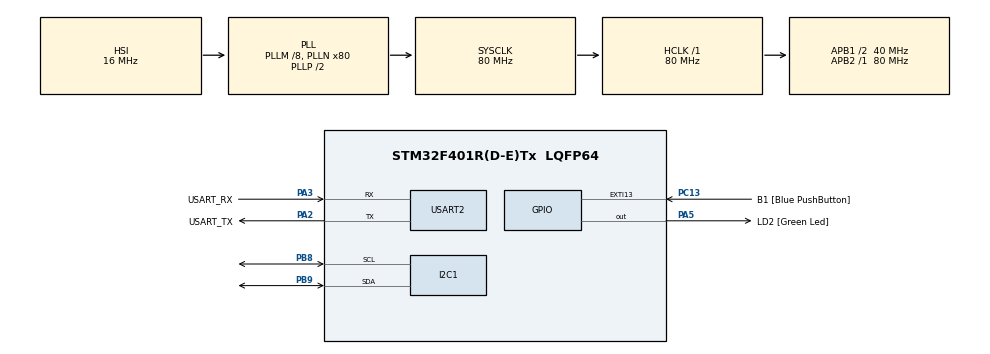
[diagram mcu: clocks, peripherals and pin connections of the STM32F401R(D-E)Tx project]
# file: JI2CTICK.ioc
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Mcu.Family=STM32F4
Mcu.Name=STM32F401R(D-E)Tx
Mcu.Package=LQFP64
NVIC.PriorityGroup=NVIC_PRIORITYGROUP_0
PA13.GPIO_Label=TMS
PA13.Mode=Serial_Wire
PA13.Signal=SYS_JTMS-SWDIO
PA14.GPIO_Label=TCK
PA14.Mode=Serial_Wire
PA14.Signal=SYS_JTCK-SWCLK
PA2.GPIO_Label=USART_TX
PA2.GPIO_Mode=GPIO_MODE_AF_PP
PA2.GPIO_PuPd=GPIO_NOPULL
PA2.GPIO_Speed=GPIO_SPEED_FREQ_LOW
PA2.Mode=Asynchronous
PA2.Signal=USART2_TX
PA3.GPIO_Label=USART_RX
PA3.GPIO_Mode=GPIO_MODE_AF_PP
PA3.GPIO_PuPd=GPIO_NOPULL
PA3.GPIO_Speed=GPIO_SPEED_FREQ_LOW
PA3.Mode=Asynchronous
PA3.Signal=USART2_RX
PA5.GPIO_Label=LD2 [Green Led]
PA5.GPIO_Mode=GPIO_MODE_OUTPUT_PP
PA5.GPIO_PuPd=GPIO_NOPULL
PA5.GPIO_Speed=GPIO_SPEED_FREQ_LOW
PA5.Signal=GPIO_Output
PB3.GPIO_Label=SWO
PB3.Signal=SYS_JTDO-SWO
PB8.Mode=I2C
PB8.Signal=I2C1_SCL
PB9.Mode=I2C
PB9.Signal=I2C1_SDA
PC13-ANTI_TAMP.GPIO_Label=B1 [Blue PushButton]
PC13-ANTI_TAMP.GPIO_ModeDefaultEXTI=GPIO_MODE_IT_FALLING
PC13-ANTI_TAMP.GPIO_PuPd=GPIO_NOPULL
PC13-ANTI_TAMP.Signal=GPXTI13
PC14-OSC32_IN.Mode=LSE-External-Oscillator
PC14-OSC32_IN.Signal=RCC_OSC32_IN
PC15-OSC32_OUT.Mode=LSE-External-Oscillator
PC15-OSC32_OUT.Signal=RCC_OSC32_OUT
PH0\ -\ OSC_IN.Mode=HSE-External-Clock-Source
PH0\ -\ OSC_IN.Signal=RCC_OSC_IN
PH1\ -\ OSC_OUT.Mode=HSE-External-Clock-Source
PH1\ -\ OSC_OUT.Signal=RCC_OSC_OUT
ProjectManager.HeapSize=0x200
ProjectManager.StackSize=0x400
ProjectManager.TargetToolchain=STM32CubeIDE
RCC.48MHZClocksFreq_Value=22857142.85714286
RCC.AHBFreq_Value=80000000
RCC.APB1CLKDivider=RCC_HCLK_DIV2
RCC.APB1Freq_Value=40000000
RCC.APB1TimFreq_Value=80000000
RCC.APB2Freq_Value=80000000
RCC.APB2TimFreq_Value=80000000
RCC.CortexFreq_Value=80000000
RCC.HCLKFreq_Value=80000000
RCC.HSE_VALUE=8000000
RCC.HSI_VALUE=16000000
RCC.PLLM=8
RCC.PLLN=80
RCC.PLLQ=7
RCC.SYSCLKFreq_VALUE=80000000
RCC.SYSCLKSource=RCC_SYSCLKSOURCE_PLLCLK
RCC.VCOOutputFreq_Value=160000000
USART2.VirtualMode=VM_ASYNC
board=NUCLEO-F401RE

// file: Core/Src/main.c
/* USER CODE BEGIN Header */
/**
 ******************************************************************************
 * @file           : main.c
 * @brief          : Main program body
 ******************************************************************************
 * @attention
 *
 * Copyright (c) 2023 STMicroelectronics.
 * All rights reserved.
 *
 * This software is licensed under terms that can be found in the LICENSE file
 * in the root directory of this software component.
 * If no LICENSE file comes with this software, it is provided AS-IS.
 *
 ******************************************************************************
 */
/* USER CODE END Header */
#include "main.h"

/* USER CODE BEGIN Includes */
#include "string.h"
#include "stdlib.h"
#include "stdio.h"
#include "math.h"
/* USER CODE END Includes */

/* USER CODE BEGIN PD */
#define MPU6050_ADDRESS   0x68
#define MPU6050_GYRO_XOUT_H  0x43
#define MPU6050_ACCEL_XOUT_H  0x3B
#define MPU6050_PWR_MGMT_1    0x6B
#define MPU6050_ACCEL_CONFIG  0x1C
#define MPU6050_GYRO_CONFIG   0x1B
#define GYRO_SENSITIVITY      131.0
#define alpha 0.95
#define SPACE_WIDTH 101
#define PROGRESS 50
/* USER CODE END PD */

I2C_HandleTypeDef hi2c1;

UART_HandleTypeDef huart2;

/* USER CODE BEGIN PV */
uint8_t MSG[50] = {'\0'};

char* winMessage ="\t\t.#.....................#.....###########.....#...........#\r\n"
				  "\t\t..#.........#.........#...........#..........#.#.........#\r\n"
				  "\t\t...#.......#.#.......#............#..........#...#.......#\r\n"
				  "\t\t....#.....#...#.....#.............#..........#.....#.....#\r\n"
				  "\t\t.....#...#.....#...#..............#..........#.......#...#\r\n"
				  "\t\t......#.#.......#.#...............#..........#.........#.#\r\n"
				  "\t\t.......#.........#...........###########.....#...........#\r\n";
int progress = 0;

/* USER CODE END PV */

void SystemClock_Config(void);
static void MX_GPIO_Init(void);
static void MX_USART2_UART_Init(void);
static void MX_I2C1_Init(void);
/* USER CODE BEGIN PFP */
void MPU6050_Init(void);
int ReadInt(void);
void UART_SEND_TXT(UART_HandleTypeDef *huart, char buffer[]);
void UART_SEND_INT(UART_HandleTypeDef *huart, int i);
void UART_SEND_CHR(UART_HandleTypeDef *huart, char c);
void UART_SEND_NL(UART_HandleTypeDef *huart);
int scale_roll(double value);
int scale_pitch(double value);
/* USER CODE END PFP */

/* USER CODE BEGIN 0 */
float gx_dps, gy_dps, gz_dps, gyro_x, gyro_y, gyro_z;
float angleX = 0, angleY = 0, angleZ = 0;
/* USER CODE END 0 */

int main(void)
{
	/* USER CODE BEGIN 1 */
	char space_line[SPACE_WIDTH];
	for (int i = 0; i < SPACE_WIDTH; i++)
	{
		space_line[i] = '.';
	}
	int x_pos = SPACE_WIDTH/2+1;
	int x_prev_pos = 0;

	/* USER CODE END 1 */

	/* MCU Configuration--------------------------------------------------------*/

	/* Reset of all peripherals, Initializes the Flash interface and the Systick. */
	HAL_Init();

	/* Configure the system clock */
	SystemClock_Config();

	/* Initialize all configured peripherals */
	MX_GPIO_Init();
	MX_USART2_UART_Init();
	MX_I2C1_Init();
	/* USER CODE BEGIN 2 */
	MPU6050_Init();

	if(HAL_I2C_IsDeviceReady(&hi2c1, MPU6050_ADDRESS <<1, 1, HAL_MAX_DELAY))
	{
		HAL_GPIO_WritePin(GPIOA, GPIO_PIN_5, 1);
	}
	else
	{
		HAL_GPIO_WritePin(GPIOA, GPIO_PIN_5, 0);
	}

	float gyro_roll;

	/* USER CODE END 2 */

	/* Infinite loop */
	/* USER CODE BEGIN WHILE */
	while (1)
	{
		uint8_t buf[6];
		int16_t ax, ay, az;
		float ax_g, ay_g, az_g;

		HAL_I2C_Mem_Read(&hi2c1, MPU6050_ADDRESS << 1, MPU6050_ACCEL_XOUT_H, I2C_MEMADD_SIZE_8BIT, buf, 6, HAL_MAX_DELAY);

		ax = (buf[0] << 8) | buf[1];
		ay = (buf[2] << 8) | buf[3];
		az = (buf[4] << 8) | buf[5];

		ax_g = (float) ax/8192.0;
		ay_g = (float) ay/8192.0;
		az_g = (float) az/8192.0;

		float acc_roll = atan2(ay_g, az_g) * 180.0 /M_PI; // Roll angle from accelerometer
		float acc_pitch = atan2(ax_g, sqrt(ay_g*ay_g+az_g*az_g))*180.0/M_PI; // Pitch from acceleration

		/* If we are measuring gyroscope */
		uint8_t buf_GYRO[6];
		int16_t gx_raw, gy_raw, gz_raw;

		HAL_I2C_Mem_Read(&hi2c1, MPU6050_ADDRESS << 1, MPU6050_GYRO_XOUT_H, I2C_MEMADD_SIZE_8BIT, buf_GYRO, 6, HAL_MAX_DELAY);

		gx_raw = (buf_GYRO[0] << 8) | buf_GYRO[1];
		gy_raw = (buf_GYRO[2] << 8) | buf_GYRO[3];
		gz_raw = (buf_GYRO[4] << 8) | buf_GYRO[5];

		gx_dps = (float) gx_raw / GYRO_SENSITIVITY;
		gy_dps = (float) gy_raw / GYRO_SENSITIVITY;
		gz_dps = (float) gz_raw / GYRO_SENSITIVITY;

		float dt = 0.01;

		gyro_x = gx_dps*dt;
		gyro_y = gy_dps*dt;
		gyro_z = gy_dps*dt;

		float roll_angle = -1*(alpha*gyro_x + (1-alpha)*acc_roll);
		float pitch_angle = -1*(alpha*gyro_y + (1-alpha)*acc_pitch);

//		sprintf(MSG, "\r\x1b[1LRoll_angle: %d		Pitch: %d\r", scale_roll(roll_angle), scale_pitch(pitch_angle));
//		HAL_UART_Transmit(&huart2, MSG, sizeof(MSG), 100);
//		HAL_Delay(100);

		x_prev_pos = x_pos;
		int frequency = scale_pitch(pitch_angle);

		if(roll_angle < -0.1)
		{
			x_pos--;
		}

		else if(roll_angle > 0.1)
		{
			x_pos++;
		}

		else
			x_pos = x_prev_pos;

		if (x_pos == 0 || x_pos == SPACE_WIDTH - 1)
		{
			sprintf(MSG, "\t\t\t\tCRASH!!!\r\n");
			HAL_UART_Transmit(&huart2, MSG, sizeof(MSG), 100);
			break;
		}
		else
		{
			progress++;
			space_line[x_pos] = 'X';
			if (x_pos != x_prev_pos)
				space_line[x_prev_pos] = '.';
			HAL_UART_Transmit(&huart2, space_line, sizeof(space_line), 100);
			sprintf(MSG, "\t\t\t\tFrequency = %d", frequency);
			HAL_UART_Transmit(&huart2, MSG, sizeof(MSG), 100);
			UART_SEND_NL(&huart2);
			HAL_Delay(frequency);
			if(progress == PROGRESS)
			{
				HAL_UART_Transmit(&huart2, (uint8_t*)winMessage , strlen(winMessage), 100);
				break;
			}
		}
		/* USER CODE END WHILE */

	}
}

void SystemClock_Config(void)
{
	RCC_OscInitTypeDef RCC_OscInitStruct = {0};
	RCC_ClkInitTypeDef RCC_ClkInitStruct = {0};

	/** Configure the main internal regulator output voltage
	 */
	__HAL_RCC_PWR_CLK_ENABLE();
	__HAL_PWR_VOLTAGESCALING_CONFIG(PWR_REGULATOR_VOLTAGE_SCALE2);

	/** Initializes the RCC Oscillators according to the specified parameters
	 * in the RCC_OscInitTypeDef structure.
	 */
	RCC_OscInitStruct.OscillatorType = RCC_OSCILLATORTYPE_HSI;
	RCC_OscInitStruct.HSIState = RCC_HSI_ON;
	RCC_OscInitStruct.HSICalibrationValue = RCC_HSICALIBRATION_DEFAULT;
	RCC_OscInitStruct.PLL.PLLState = RCC_PLL_ON;
	RCC_OscInitStruct.PLL.PLLSource = RCC_PLLSOURCE_HSI;
	RCC_OscInitStruct.PLL.PLLM = 8;
	RCC_OscInitStruct.PLL.PLLN = 80;
	RCC_OscInitStruct.PLL.PLLP = RCC_PLLP_DIV2;
	RCC_OscInitStruct.PLL.PLLQ = 7;
	if (HAL_RCC_OscConfig(&RCC_OscInitStruct) != HAL_OK)
	{
		Error_Handler();
	}

	/** Initializes the CPU, AHB and APB buses clocks
	 */
	RCC_ClkInitStruct.ClockType = RCC_CLOCKTYPE_HCLK|RCC_CLOCKTYPE_SYSCLK
			|RCC_CLOCKTYPE_PCLK1|RCC_CLOCKTYPE_PCLK2;
	RCC_ClkInitStruct.SYSCLKSource = RCC_SYSCLKSOURCE_PLLCLK;
	RCC_ClkInitStruct.AHBCLKDivider = RCC_SYSCLK_DIV1;
	RCC_ClkInitStruct.APB1CLKDivider = RCC_HCLK_DIV2;
	RCC_ClkInitStruct.APB2CLKDivider = RCC_HCLK_DIV1;

	if (HAL_RCC_ClockConfig(&RCC_ClkInitStruct, FLASH_LATENCY_2) != HAL_OK)
	{
		Error_Handler();
	}
}

static void MX_I2C1_Init(void)
{

	hi2c1.Instance = I2C1;
	hi2c1.Init.ClockSpeed = 400000;
	hi2c1.Init.DutyCycle = I2C_DUTYCYCLE_2;
	hi2c1.Init.OwnAddress1 = 0;
	hi2c1.Init.AddressingMode = I2C_ADDRESSINGMODE_7BIT;
	hi2c1.Init.DualAddressMode = I2C_DUALADDRESS_DISABLE;
	hi2c1.Init.OwnAddress2 = 0;
	hi2c1.Init.GeneralCallMode = I2C_GENERALCALL_DISABLE;
	hi2c1.Init.NoStretchMode = I2C_NOSTRETCH_DISABLE;
	if (HAL_I2C_Init(&hi2c1) != HAL_OK)
	{
		Error_Handler();
	}

}

static void MX_USART2_UART_Init(void)
{

	huart2.Instance = USART2;
	huart2.Init.BaudRate = 115200;
	huart2.Init.WordLength = UART_WORDLENGTH_8B;
	huart2.Init.StopBits = UART_STOPBITS_1;
	huart2.Init.Parity = UART_PARITY_NONE;
	huart2.Init.Mode = UART_MODE_TX_RX;
	huart2.Init.HwFlowCtl = UART_HWCONTROL_NONE;
	huart2.Init.OverSampling = UART_OVERSAMPLING_16;
	if (HAL_UART_Init(&huart2) != HAL_OK)
	{
		Error_Handler();
	}

}

static void MX_GPIO_Init(void)
{
	GPIO_InitTypeDef GPIO_InitStruct = {0};

	/* GPIO Ports Clock Enable */
	__HAL_RCC_GPIOC_CLK_ENABLE();
	__HAL_RCC_GPIOH_CLK_ENABLE();
	__HAL_RCC_GPIOA_CLK_ENABLE();
	__HAL_RCC_GPIOB_CLK_ENABLE();

	/*Configure GPIO pin Output Level */
	HAL_GPIO_WritePin(LD2_GPIO_Port, LD2_Pin, GPIO_PIN_RESET);

	/*Configure GPIO pin : B1_Pin */
	GPIO_InitStruct.Pin = B1_Pin;
	GPIO_InitStruct.Mode = GPIO_MODE_IT_FALLING;
	GPIO_InitStruct.Pull = GPIO_NOPULL;
	HAL_GPIO_Init(B1_GPIO_Port, &GPIO_InitStruct);

	/*Configure GPIO pin : LD2_Pin */
	GPIO_InitStruct.Pin = LD2_Pin;
	GPIO_InitStruct.Mode = GPIO_MODE_OUTPUT_PP;
	GPIO_InitStruct.Pull = GPIO_NOPULL;
	GPIO_InitStruct.Speed = GPIO_SPEED_FREQ_LOW;
	HAL_GPIO_Init(LD2_GPIO_Port, &GPIO_InitStruct);

}

/* USER CODE BEGIN 4 */
void MPU6050_Init(void)
{
	uint8_t buffer[2];

	buffer[0] = MPU6050_PWR_MGMT_1;
	buffer[1] = 0x00;
	HAL_I2C_Master_Transmit(&hi2c1, MPU6050_ADDRESS << 1, buffer, 2, HAL_MAX_DELAY);

	buffer[0] = MPU6050_ACCEL_CONFIG;
	buffer[1] = 0x08;
	HAL_I2C_Master_Transmit(&hi2c1, MPU6050_ADDRESS << 1, buffer, 2, HAL_MAX_DELAY);

	buffer[0] = MPU6050_GYRO_CONFIG;
	buffer[1] = 0x18;
	HAL_I2C_Master_Transmit(&hi2c1, MPU6050_ADDRESS << 1, buffer, 2, HAL_MAX_DELAY);
}

int scale_roll(double value)
{
	double range = 6.2; // the range of values we're scaling
	double offset = -3.1; // the minimum value of the range we're scaling
	double scale = 100.0 / range; // the scaling factor to convert the range to 0-100

	return (int)(value - offset) * scale; // apply the scaling factor and return the scaled value
}

int scale_pitch(double value)
{
	double range = 8.0; // the range of values we're scaling
	double offset = -4.0; // the minimum value of the range we're scaling
	double outputRange = 167.0; // the range of the output values (250-83)
	double outputOffset = 83.0; // the minimum value of the output range

	double scale = outputRange / range; // the scaling factor to convert the range to 250-83

	return (int)(value - offset) * scale + outputOffset; // apply the scaling factor and output offset, and return the scaled value
}

//00001000
// This function displays a new-line
//
void UART_SEND_NL(UART_HandleTypeDef *huart)
{
	HAL_UART_Transmit(huart, (uint8_t*)"\n\r", 2, HAL_MAX_DELAY);
}

//
// This function displays a character
//
void UART_SEND_CHR(UART_HandleTypeDef *huart, char c)
{
	HAL_UART_Transmit(huart, (uint8_t*)&c, 1, HAL_MAX_DELAY);
}

//
// This function displays an integer number
//
void UART_SEND_INT(UART_HandleTypeDef *huart, int i)
{
	char buffer[10];
	itoa(i, buffer, 10);
	HAL_UART_Transmit(huart, (uint8_t*) buffer, strlen(buffer), HAL_MAX_DELAY);
}

//
// This function displays text
//
void UART_SEND_TXT(UART_HandleTypeDef *huart, char buffer[])
{
	HAL_UART_Transmit(huart, (uint8_t*) buffer, strlen(buffer), HAL_MAX_DELAY);
}

//
// Read an integer number
//
int ReadInt(void)
{
	int n, N = 0;
	char readBuf[1];
	while(1)
	{
		HAL_UART_Receive(&huart2, (uint8_t*)readBuf, 1, HAL_MAX_DELAY);
		UART_SEND_CHR(&huart2, readBuf[0]);
		if(readBuf[0] == '\r')break;
		n = atoi(readBuf);
		N = 10*N + n;
	}
}
/* USER CODE END 4 */

void Error_Handler(void)
{
	__disable_irq();
	while (1)
	{
	}
}
